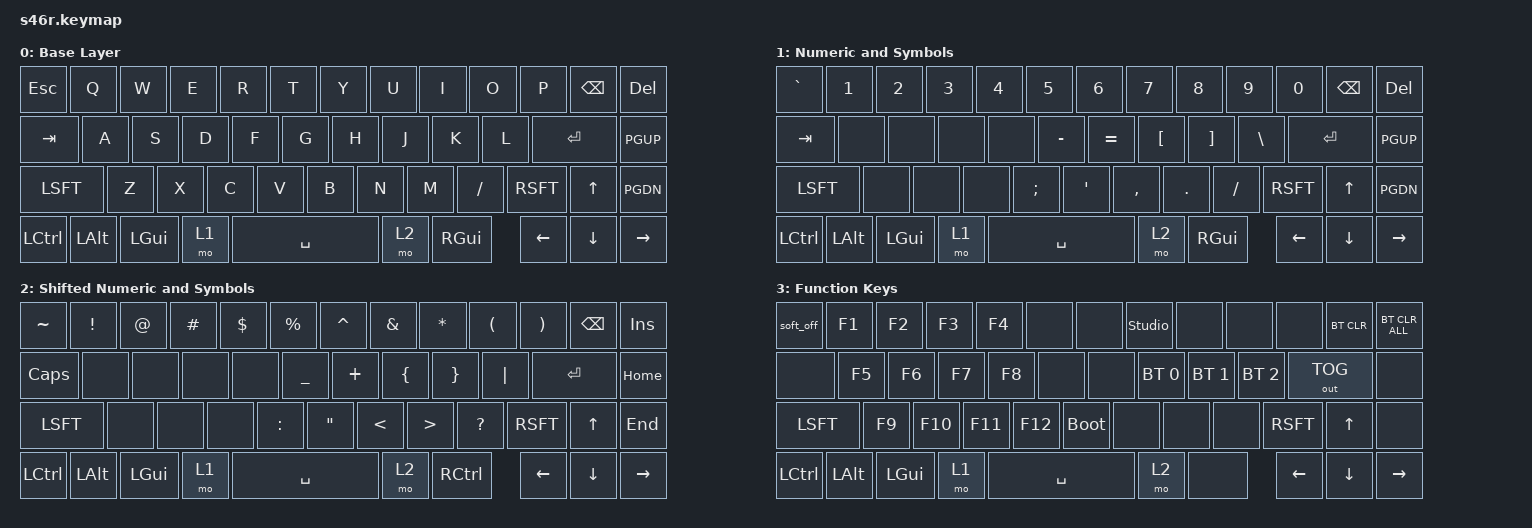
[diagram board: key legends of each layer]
// This file was generated from a template. Edit it to match your keyboard.
// See https://zmk.dev/docs/development/hardware-integration/new-shield for more instructions.

#include <behaviors.dtsi>
#include <dt-bindings/zmk/keys.h>
#include <dt-bindings/zmk/bt.h>
#include <dt-bindings/zmk/outputs.h>

&soft_off {
    hold-time-ms = <2000>; // Only turn off it the key is held for 2 seconds or longer.
};

/ {
    // Define a default keymap here.
    // See https://zmk.dev/docs/development/hardware-integration/new-shield#default-keymap.
    keymap {
        compatible = "zmk,keymap";

        // Layer 0: Base Alpha layout
        /*
         *  ┌───┬───┬───┬───┬───┬───┬───┬───┬───┬───┬───┬───┬───┐
         *  │ESC│ Q │ W │ E │ R │ T │ Y │ U │ I │ O │ P │BKS│DEL│
         *  ├───┴┬──┴┬──┴┬──┴┬──┴┬──┴┬──┴┬──┴┬──┴┬──┴┬──┴───┼───┤
         *  │TAB │ A │ S │ D │ F │ G │ H │ J │ K │ L │ENT   │PGU│
         *  ├────┴─┬─┴─┬─┴─┬─┴─┬─┴─┬─┴─┬─┴─┬─┴─┬─┴─┬─┴──┬───┼───┤
         *  │SFT   │ Z │ X │ C │ V │ B │ N │ M │ / │SFT │ ↑ │PGD│
         *  ├───┬──┴┬──┴─┬─┴─┬─┴───┴───┴─┬─┴─┬─┴──┬┴┬───┼───┼───┤
         *  │CTL│ALT│GUI │MO1│   SPACE   │MO2│GUI │ │ ← │ ↓ │ → │
         *  └───┴───┴────┴───┴───────────┴───┴────┘ └───┴───┴───┘
         */
        default_layer {
            display-name = "Base Layer";
            bindings = <
                &kp ESC   &kp Q     &kp W     &kp E     &kp R     &kp T     &kp Y     &kp U     &kp I     &kp O     &kp P     &kp BSPC   &kp DEL
                &kp TAB   &kp A     &kp S     &kp D     &kp F     &kp G     &kp H     &kp J     &kp K     &kp L     &kp RET   &kp PGUP
                &kp LSFT  &kp Z     &kp X     &kp C     &kp V     &kp B     &kp N     &kp M     &kp FSLH  &kp RSFT  &kp UP    &kp PGDN  
                &kp LCTRL &kp LALT  &kp LGUI  &mo 1               &kp SPACE           &mo 2     &kp RGUI  &kp LEFT  &kp DOWN  &kp RIGHT
            >;
        };

        // Layer 1: Numeric and Symbols
        /*
         * ┌───┬───┬───┬───┬───┬───┬───┬───┬───┬───┬───┬───┬───┐
         * │ ` │ 1 │ 2 │ 3 │ 4 │ 5 │ 6 │ 7 │ 8 │ 9 │ 0 │BKS│DEL│
         * ├───┴┬──┴┬──┴┬──┴┬──┴┬──┴┬──┴┬──┴┬──┴┬──┴┬──┴───┼───┤
         * │TAB │   │   │   │   │ - │ = │ [ │ ] │ \ │ ENT  │PGU│
         * ├────┴─┬─┴─┬─┴─┬─┴─┬─┴─┬─┴─┬─┴─┬─┴─┬─┴─┬─┴──┬───┼───┤
         * │SFT   │   │   │   │ ; │ ' │ , │ . │ / │SFT │ ↑ │PGD│
         * ├───┬──┴┬──┴─┬─┴─┬─┴───┴───┴─┬─┴─┬─┴──┬┴┬───┼───┼───┤
         * │CTL│ALT│GUI │MO1│   SPACE   │MO2│GUI │ │ ← │ ↓ │ → │
         * └───┴───┴────┴───┴───────────┴───┴────┘ └───┴───┴───┘
         */
        layer_1 {
            display-name = "Numeric and Symbols";
            bindings = <
                &kp GRAVE &kp N1    &kp N2    &kp N3    &kp N4    &kp N5    &kp N6    &kp N7    &kp N8    &kp N9    &kp N0    &kp BSPC   &kp DEL
                &kp TAB   &none     &none     &none     &none     &kp MINUS &kp EQUAL &kp LBKT  &kp RBKT  &kp BSLH  &kp RET   &kp PGUP
                &kp LSFT  &none     &none     &none     &kp SEMI  &kp SQT   &kp COMMA &kp DOT   &kp FSLH  &kp RSFT  &kp UP    &kp PGDN  
                &kp LCTRL &kp LALT  &kp LGUI  &mo 1               &kp SPACE           &mo 2     &kp RGUI  &kp LEFT  &kp DOWN  &kp RIGHT
            >;
        };

        // Layer 2: Shifted Numeric and Symbols
        /*
         * ┌───┬───┬───┬───┬───┬───┬───┬───┬───┬───┬───┬───┬───┐
         * │ ~ │ ! │ @ │ # │ $ │ % │ ^ │ & │ * │ ( │ ) │BKS│INS│
         * ├───┴┬──┴┬──┴┬──┴┬──┴┬──┴┬──┴┬──┴┬──┴┬──┴┬──┴───┼───┤
         * │CAPS│   │   │   │   │ _ │ + │ { │ } │ | │ ENT  │HOM│
         * ├────┴─┬─┴─┬─┴─┬─┴─┬─┴─┬─┴─┬─┴─┬─┴─┬─┴─┬─┴──┬───┼───┤
         * │SFT   │   │   │   │ : │ " │ < │ > │ ? │SFT │ ↑ │END│
         * ├───┬──┴┬──┴─┬─┴─┬─┴───┴───┴─┬─┴─┬─┴──┬┴┬───┼───┼───┤
         * │CTL│ALT│GUI │MO1│   SPACE   │MO2│CTL │ │ ← │ ↓ │ → │
         * └───┴───┴────┴───┴───────────┴───┴────┘ └───┴───┴───┘
         */
        layer_2 {
            display-name = "Shifted Numeric and Symbols";
            bindings = <
                &kp TILDE &kp EXCL  &kp AT    &kp HASH  &kp DLLR   &kp PRCNT &kp CARET &kp AMPS  &kp STAR   &kp LPAR  &kp RPAR  &kp BSPC   &kp INS
                &kp CAPS  &none     &none     &none     &none      &kp UNDER &kp PLUS  &kp LBRC  &kp RBRC   &kp PIPE  &kp RET   &kp HOME
                &kp LSFT  &none     &none     &none     &kp COLON  &kp DQT   &kp LT    &kp GT    &kp QMARK  &kp RSFT  &kp UP    &kp END
                &kp LCTRL &kp LALT  &kp LGUI  &mo 1                &kp SPACE           &mo 2     &kp RCTRL  &kp LEFT  &kp DOWN  &kp RIGHT
            >;
        };

        // Layer 3: Function Keys
        /*
         * ┌───┬───┬───┬───┬───┬───┬───┬───┬───┬───┬───┬───┬───┐
         * │OFF│F1 │F2 │F3 │F4 │   │   │UNL│   │   │   │CLR│CLA│
         * ├───┴┬──┴┬──┴┬──┴┬──┴┬──┴┬──┴┬──┴┬──┴┬──┴┬──┴───┼───┤
         * │    │F5 │F6 │F7 │F8 │   │   │BT1│BT2│BT3│OUT   │   │
         * ├────┴─┬─┴─┬─┴─┬─┴─┬─┴─┬─┴─┬─┴─┬─┴─┬─┴─┬─┴──┬───┼───┤
         * │SFT   │F9 │F10│F11│F12│BTL│   │   │   │SFT │ ↑ │   │
         * ├───┬──┴┬──┴─┬─┴─┬─┴───┴───┴─┬─┴─┬─┴──┬┴┬───┼───┼───┤
         * │CTL│ALT│GUI │MO1│   SPACE   │MO2│    │ │ ← │ ↓ │ → │
         * └───┴───┴────┴───┴───────────┴───┴────┘ └───┴───┴───┘
         */
        layer_3 {
            display-name = "Function Keys";
            bindings = <
                &soft_off   &kp F1    &kp F2    &kp F3    &kp F4    &none        &none     &studio_unlock  &none         &none         &none         &bt BT_CLR  &bt BT_CLR_ALL
                &none       &kp F5    &kp F6    &kp F7    &kp F8    &none        &none     &bt BT_SEL 0    &bt BT_SEL 1  &bt BT_SEL 2  &out OUT_TOG  &none
                &kp LSFT    &kp F9    &kp F10   &kp F11   &kp F12   &bootloader  &none     &none           &none         &kp RSFT      &kp UP        &none
                &kp LCTRL   &kp LALT  &kp LGUI  &mo 1               &kp SPACE              &mo 2           &none         &kp LEFT      &kp DOWN      &kp RIGHT
            >;
        };
    };

    conditional_layers {
        compatible = "zmk,conditional-layers";
        tri_layer {
            if-layers = <1 2>;
            then-layer = <3>;
        };
    };
};
